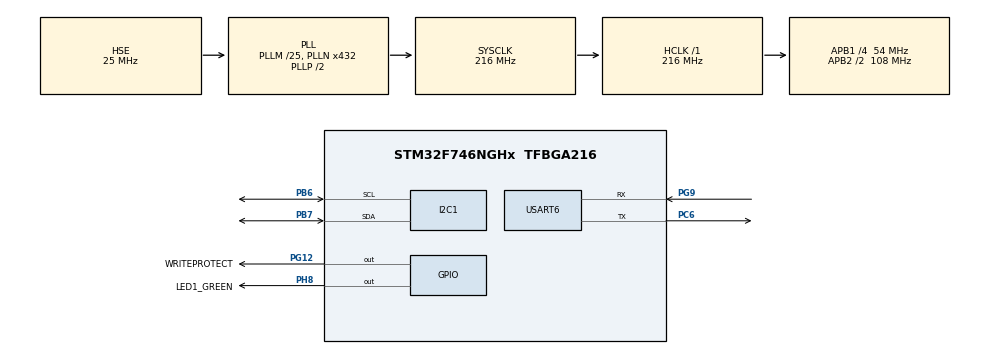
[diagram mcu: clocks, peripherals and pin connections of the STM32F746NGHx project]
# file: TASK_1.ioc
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I2C1.Timing=0x20404768
Mcu.Family=STM32F7
Mcu.Name=STM32F746NGHx
Mcu.Package=TFBGA216
NVIC.PriorityGroup=NVIC_PRIORITYGROUP_4
NVIC.USART6_IRQn=true\:0\:0\:false\:false\:true\:true\:true\:true
PB6.GPIO_Pu=GPIO_PULLUP
PB6.GPIO_Speed=GPIO_SPEED_FREQ_VERY_HIGH
PB6.Mode=I2C
PB6.Signal=I2C1_SCL
PB7.GPIO_Pu=GPIO_PULLUP
PB7.Mode=I2C
PB7.Signal=I2C1_SDA
PC6.Mode=Asynchronous
PC6.Signal=USART6_TX
PG12.GPIO_Label=WRITEPROTECT
PG12.GPIO_Speed=GPIO_SPEED_FREQ_VERY_HIGH
PG12.PinState=GPIO_PIN_SET
PG12.Signal=GPIO_Output
PG9.Mode=Asynchronous
PG9.Signal=USART6_RX
PH0/OSC_IN.Mode=HSE-External-Oscillator
PH0/OSC_IN.Signal=RCC_OSC_IN
PH1/OSC_OUT.Mode=HSE-External-Oscillator
PH1/OSC_OUT.Signal=RCC_OSC_OUT
PH8.GPIO_Label=LED1_GREEN
PH8.GPIO_PuPd=GPIO_NOPULL
PH8.GPIO_Speed=GPIO_SPEED_FREQ_VERY_HIGH
PH8.PinState=GPIO_PIN_SET
PH8.Signal=GPIO_Output
ProjectManager.HeapSize=0x200
ProjectManager.StackSize=0x400
ProjectManager.TargetToolchain=STM32CubeIDE
RCC.AHBFreq_Value=216000000
RCC.APB1CLKDivider=RCC_HCLK_DIV4
RCC.APB1Freq_Value=54000000
RCC.APB1TimFreq_Value=108000000
RCC.APB2CLKDivider=RCC_HCLK_DIV2
RCC.APB2Freq_Value=108000000
RCC.APB2TimFreq_Value=216000000
RCC.CortexFreq_Value=216000000
RCC.HCLKFreq_Value=216000000
RCC.HSE_VALUE=25000000
RCC.HSI_VALUE=16000000
RCC.LSE_VALUE=32768
RCC.PLLM=25
RCC.PLLN=432
RCC.PLLSourceVirtual=RCC_PLLSOURCE_HSE
RCC.SYSCLKFreq_VALUE=216000000
RCC.SYSCLKSource=RCC_SYSCLKSOURCE_PLLCLK
RCC.USBFreq_Value=216000000
RCC.VCOOutputFreq_Value=432000000
USART6.VirtualMode-Asynchronous=VM_ASYNC
board=custom

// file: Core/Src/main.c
/* USER CODE BEGIN Header */
/**
  ******************************************************************************
  * @file           : main.c
  * @brief          : Main program body
  ******************************************************************************
  * @attention
  *
  * Copyright (c) 2023 STMicroelectronics.
  * All rights reserved.
  *
  * This software is licensed under terms that can be found in the LICENSE file
  * in the root directory of this software component.
  * If no LICENSE file comes with this software, it is provided AS-IS.
  *
  ******************************************************************************
  */
/* USER CODE END Header */
#include "main.h"

/* USER CODE BEGIN Includes */

#include "string.h"

/* USER CODE END Includes */

/* USER CODE BEGIN PD */

#define PAGE_SIZE    16
#define DEVICE_ID_W   0xA8
#define DEVICE_ID_R   0xA9
#define START_PAGE_ON  0x00
#define START_PAGE_OFF  0x11

/* USER CODE END PD */

I2C_HandleTypeDef hi2c1;

UART_HandleTypeDef huart6;

void SystemClock_Config(void);
static void MX_GPIO_Init(void);
static void MX_I2C1_Init(void);
static void MX_USART6_UART_Init(void);

/* USER CODE BEGIN 0 */

char RxData[5] = {0};
char RxBuffer[5] = {0};
uint8_t rxIndex = 0;
uint8_t countOn = 0;
uint8_t countOff = 0;
char *onCond ="ON";
char *offCond ="OFF";
char ItoA[4];

void HAL_UART_RxCpltCallback(UART_HandleTypeDef *huart)
{
	RxBuffer[rxIndex] = RxData[0];  //Storing the data sent from the user.
	rxIndex++;    //Incrementing the index value in the buffer
	if(rxIndex > 3)
	{
		memset(RxBuffer,'\0',5);  //Clearing the buffer
		rxIndex = 0;    //making the index value to zero.
	}
	HAL_UART_Receive_IT(&huart6, &RxData, 1);
}

uint8_t bytestoWrite(uint8_t size, uint8_t start_byte)
{
	 /* If the start_bytes+size is less than PAGE_SIZE then it will return the size which is entered by us manually */
	if((size+start_byte) < PAGE_SIZE)
	{
		return size;
	}
	 /*If the start_bytes+size is greater than PAGE_SIZE then it will return the "PAGE_SIZE-start_bytes" (remaining start_bytes left in that page).*/
	else
	{
		return PAGE_SIZE-start_byte;
	}
}

void AP_M24C08_WritePage(uint8_t pageNo, uint8_t start_byte, uint8_t *dataW, uint16_t size)
{
	uint16_t temp;
	uint8_t startPage = pageNo;         //Starting page to write the data
	uint8_t endPage = startPage + ((size+start_byte)/PAGE_SIZE);          //end page to write the data

	uint8_t numofPages = (endPage - startPage)+1;        //Number of pages to write the data
	uint8_t pos = 0;            //position of the data to write

	for(int i=0; i< numofPages; i++)
	{
		 temp = (startPage * PAGE_SIZE) +start_byte;  // checking the starting address of the start_byte to start.
		 uint8_t  deviceIDw = DEVICE_ID_W | ((temp >> 7) & (0x06));       //Device address of the EEPROM along with A9 and A8 bits.
		 uint8_t  memAdd = (temp & 0xFF);                                       //memory address to where we want to write the data
		 uint8_t bytesRemaining = bytestoWrite(size,start_byte);             //Number of start_byte are pending in that page to write.

		 HAL_GPIO_WritePin(WRITEPROTECT_GPIO_Port, WRITEPROTECT_Pin, GPIO_PIN_RESET);
		 HAL_I2C_Mem_Write(&hi2c1, deviceIDw, memAdd, 1, &dataW[pos], bytesRemaining, 1000);
		 HAL_GPIO_WritePin(WRITEPROTECT_GPIO_Port, WRITEPROTECT_Pin, GPIO_PIN_SET);

		 startPage += 1;          //Increment the page after completion of writing the data into present page.
		 start_byte = 0;                   // Making to zero so it start  writing the data from 1st.
		 size = size - bytesRemaining;    //Subtracting the Number of start_bytes from the size which are written in the previous page.
		 pos += bytesRemaining;           // position of the data from where we want to write data to the next page

		 HAL_Delay(80);       //Delay the process to get the writing value update
	}
}

void AP_M24C08_ReadPage(uint8_t pageNo, uint8_t start_byte, uint8_t *dataR, uint16_t size)
{
	uint16_t temp;
	uint8_t startPage = pageNo;         //Starting page to read the data
	uint8_t endPage = startPage + ((size+start_byte)/PAGE_SIZE);          //end page to read the data

	uint8_t numofPages = (endPage - startPage)+1;        //Number of pages to read the data
	uint8_t pos = 0;            //position of the data to read

	for(int i=0; i< numofPages; i++)
	{
		 temp = (startPage * PAGE_SIZE)+start_byte;  // checking the starting address of the start_byte to start.
		 uint8_t  deviceIDr = DEVICE_ID_W | ((temp >> 7) & (0x07));       //Device address of the EEPROM along with A9 and A8 bits and read bit
		 uint8_t  memAdd = (temp & 0xFF);                                       //memory address to where we want to read the data
		 uint8_t bytesRemaining = bytestoWrite(size,start_byte);             //Number of start_byte are pending in that page to read.

		 HAL_I2C_Mem_Read(&hi2c1, deviceIDr, memAdd, 1, &dataR[pos], bytesRemaining, 1000);

		// HAL_UART_Transmit(&huart6, dataR, 1, 100);

		 startPage += 1;          //Increment the page after completion of reading the data into present page.
		 start_byte = 0;                   // Making to zero so it start  reading the data from 1st.
		 size = size - bytesRemaining;    //Subtracting the Number of start_bytes from the size which are read in the previous page.
		 pos += bytesRemaining;           // position of the data from where we want to read data to the next page
	}
}

/* USER CODE END 0 */

int main(void)
{

  /* MCU Configuration--------------------------------------------------------*/

  /* Reset of all peripherals, Initializes the Flash interface and the Systick. */
  HAL_Init();

  /* Configure the system clock */
  SystemClock_Config();

  /* Initialize all configured peripherals */
  MX_GPIO_Init();
  MX_I2C1_Init();
  MX_USART6_UART_Init();
  /* USER CODE BEGIN 2 */

  /*char sendChar = 1;
  char receiveChar ; */

  uint8_t mem_ON;
  uint8_t mem_OFF;

  char onBuff[2];
  char offBuff[2];

  AP_M24C08_ReadPage(0,0,&mem_ON,1);   //Reading the On Count value from the NVRAM.
  sprintf(onBuff, "%d",mem_ON);        //Converting the integer value into char
  HAL_UART_Transmit_IT(&huart6, &onBuff, 2);  //Transmitting the on count value.

  AP_M24C08_ReadPage(1,0,&mem_OFF,1);  //Reading the Off Count value from the NVRAM.
  sprintf(offBuff, "%d",mem_OFF);      //Converting the integer value into char
  HAL_UART_Transmit_IT(&huart6, &offBuff,2);  //Transmitting the off count value.

  //Receiving the input from the user.
  HAL_UART_Receive_IT(&huart6, &RxData, 1);

  /* USER CODE END 2 */

  /* Infinite loop */
  while (1)
  {

    /* USER CODE BEGIN 3 */

        //Checking the condition for ON
		if(!strcmp(RxBuffer,onCond))
		{
		  HAL_UART_Transmit(&huart6, "LED ON", 6, 100);
		  HAL_GPIO_WritePin(LED1_GREEN_GPIO_Port, LED1_GREEN_Pin, GPIO_PIN_RESET);
		  countOn++;   //Incrementing the value of LED ON count
		  AP_M24C08_WritePage(0,0,&countOn,1);  //Writing the ON count value to NVRAM.
		  rxIndex = 0;     //Making the index value to zero.
		  memset(RxBuffer,'\0',5);  //Clearing the RxBuffer.
		}
		//Checking the condition for OFF
		else if(!strcmp(RxBuffer,offCond))
		{
		    HAL_UART_Transmit(&huart6, "LED OFF", 7, 100);
		    HAL_GPIO_WritePin(LED1_GREEN_GPIO_Port, LED1_GREEN_Pin, GPIO_PIN_SET);
			countOff++;  //Incrementing the value of LED OFF count
			AP_M24C08_WritePage(1,0,&countOff,1);   //Writing the OFF count value to NVRAM.
		    rxIndex = 0;    //Making the index value to zero.
			memset(RxBuffer,'\0',5);  //Clearing the RxBuffer.
		}
  }

  /* USER CODE END 3 */
}

void SystemClock_Config(void)
{
  RCC_OscInitTypeDef RCC_OscInitStruct = {0};
  RCC_ClkInitTypeDef RCC_ClkInitStruct = {0};

  /** Configure the main internal regulator output voltage
  */
  __HAL_RCC_PWR_CLK_ENABLE();
  __HAL_PWR_VOLTAGESCALING_CONFIG(PWR_REGULATOR_VOLTAGE_SCALE1);

  /** Initializes the RCC Oscillators according to the specified parameters
  * in the RCC_OscInitTypeDef structure.
  */
  RCC_OscInitStruct.OscillatorType = RCC_OSCILLATORTYPE_HSE;
  RCC_OscInitStruct.HSEState = RCC_HSE_ON;
  RCC_OscInitStruct.PLL.PLLState = RCC_PLL_ON;
  RCC_OscInitStruct.PLL.PLLSource = RCC_PLLSOURCE_HSE;
  RCC_OscInitStruct.PLL.PLLM = 25;
  RCC_OscInitStruct.PLL.PLLN = 432;
  RCC_OscInitStruct.PLL.PLLP = RCC_PLLP_DIV2;
  RCC_OscInitStruct.PLL.PLLQ = 2;
  if (HAL_RCC_OscConfig(&RCC_OscInitStruct) != HAL_OK)
  {
    Error_Handler();
  }

  /** Activate the Over-Drive mode
  */
  if (HAL_PWREx_EnableOverDrive() != HAL_OK)
  {
    Error_Handler();
  }

  /** Initializes the CPU, AHB and APB buses clocks
  */
  RCC_ClkInitStruct.ClockType = RCC_CLOCKTYPE_HCLK|RCC_CLOCKTYPE_SYSCLK
                              |RCC_CLOCKTYPE_PCLK1|RCC_CLOCKTYPE_PCLK2;
  RCC_ClkInitStruct.SYSCLKSource = RCC_SYSCLKSOURCE_PLLCLK;
  RCC_ClkInitStruct.AHBCLKDivider = RCC_SYSCLK_DIV1;
  RCC_ClkInitStruct.APB1CLKDivider = RCC_HCLK_DIV4;
  RCC_ClkInitStruct.APB2CLKDivider = RCC_HCLK_DIV2;

  if (HAL_RCC_ClockConfig(&RCC_ClkInitStruct, FLASH_LATENCY_7) != HAL_OK)
  {
    Error_Handler();
  }
}

static void MX_I2C1_Init(void)
{

  hi2c1.Instance = I2C1;
  hi2c1.Init.Timing = 0x20404768;
  hi2c1.Init.OwnAddress1 = 0;
  hi2c1.Init.AddressingMode = I2C_ADDRESSINGMODE_7BIT;
  hi2c1.Init.DualAddressMode = I2C_DUALADDRESS_DISABLE;
  hi2c1.Init.OwnAddress2 = 0;
  hi2c1.Init.OwnAddress2Masks = I2C_OA2_NOMASK;
  hi2c1.Init.GeneralCallMode = I2C_GENERALCALL_DISABLE;
  hi2c1.Init.NoStretchMode = I2C_NOSTRETCH_DISABLE;
  if (HAL_I2C_Init(&hi2c1) != HAL_OK)
  {
    Error_Handler();
  }

  /** Configure Analogue filter
  */
  if (HAL_I2CEx_ConfigAnalogFilter(&hi2c1, I2C_ANALOGFILTER_ENABLE) != HAL_OK)
  {
    Error_Handler();
  }

  /** Configure Digital filter
  */
  if (HAL_I2CEx_ConfigDigitalFilter(&hi2c1, 0) != HAL_OK)
  {
    Error_Handler();
  }

}

static void MX_USART6_UART_Init(void)
{

  huart6.Instance = USART6;
  huart6.Init.BaudRate = 115200;
  huart6.Init.WordLength = UART_WORDLENGTH_8B;
  huart6.Init.StopBits = UART_STOPBITS_1;
  huart6.Init.Parity = UART_PARITY_NONE;
  huart6.Init.Mode = UART_MODE_TX_RX;
  huart6.Init.HwFlowCtl = UART_HWCONTROL_NONE;
  huart6.Init.OverSampling = UART_OVERSAMPLING_16;
  huart6.Init.OneBitSampling = UART_ONE_BIT_SAMPLE_DISABLE;
  huart6.AdvancedInit.AdvFeatureInit = UART_ADVFEATURE_NO_INIT;
  if (HAL_UART_Init(&huart6) != HAL_OK)
  {
    Error_Handler();
  }

}

static void MX_GPIO_Init(void)
{
  GPIO_InitTypeDef GPIO_InitStruct = {0};

  /* GPIO Ports Clock Enable */
  __HAL_RCC_GPIOB_CLK_ENABLE();
  __HAL_RCC_GPIOG_CLK_ENABLE();
  __HAL_RCC_GPIOH_CLK_ENABLE();
  __HAL_RCC_GPIOC_CLK_ENABLE();

  /*Configure GPIO pin Output Level */
  HAL_GPIO_WritePin(WRITEPROTECT_GPIO_Port, WRITEPROTECT_Pin, GPIO_PIN_SET);

  /*Configure GPIO pin Output Level */
  HAL_GPIO_WritePin(LED1_GREEN_GPIO_Port, LED1_GREEN_Pin, GPIO_PIN_SET);

  /*Configure GPIO pin : WRITEPROTECT_Pin */
  GPIO_InitStruct.Pin = WRITEPROTECT_Pin;
  GPIO_InitStruct.Mode = GPIO_MODE_OUTPUT_PP;
  GPIO_InitStruct.Pull = GPIO_NOPULL;
  GPIO_InitStruct.Speed = GPIO_SPEED_FREQ_VERY_HIGH;
  HAL_GPIO_Init(WRITEPROTECT_GPIO_Port, &GPIO_InitStruct);

  /*Configure GPIO pin : LED1_GREEN_Pin */
  GPIO_InitStruct.Pin = LED1_GREEN_Pin;
  GPIO_InitStruct.Mode = GPIO_MODE_OUTPUT_PP;
  GPIO_InitStruct.Pull = GPIO_NOPULL;
  GPIO_InitStruct.Speed = GPIO_SPEED_FREQ_VERY_HIGH;
  HAL_GPIO_Init(LED1_GREEN_GPIO_Port, &GPIO_InitStruct);

}

/* USER CODE BEGIN 4 */

/*void bytesLeft( uint8_t startByte, uint8_t size)
{
	if((startByte + size) < 16)
		return size;
	else
		return PAGESIZE - startByte;
}

void writeData( uint8_t startPage, uint8_t startByte,uint8_t *dataW, uint8_t size)
{
	uint16_t  endPages =  ((startPage * PAGESIZE) + (startByte + size)) / PAGESIZE;
	uint8_t  numPages = (endPage - startPage) + 1;
	uint8_t pos = 0;

	while(size > 0)
	{
		uint8_t BytesLeftInPage = bytesLeft(startByte,size);
		uint16_t temp = (startPage * PAGESIZE) + startByte;
		uint8_t memADD = temp & 0xFF;
		uint8_t temp1 = (temp >> 7) & 0x06;
		uint8_t slaveADD = DEVICE_ID_W | temp1;

		HAL_I2C_Mem_Write(&hi2c1, slaveADD, memADD, 1, &dataW[pos], BytesLeftInPage, 100);

		startPage += 1;
		startByte = 0;
		size = size - bytesLeft;
		pos += BytesLeftInPage;
	}
}

void readData( uint8_t startPage, uint8_t startByte,uint8_t *dataR, uint8_t siz)
{
	uint16_t  endPages =  ((startPage * PAGESIZE) + (startByte + size)) / PAGESIZE;
	uint8_t  numPages = (endPage - startPage) + 1;
	uint8_t pos = 0;

	while(size > 0)
	{
		uint8_t BytesLeftInPage = bytesLeft(startByte,size);
		uint16_t temp = (startPage * PAGESIZE) + startByte;
		uint8_t memADD = temp & 0xFF;
		uint8_t temp1 = (temp >> 7) & 0x06;
		uint8_t slaveADD = DEVICE_ID_R | temp1;

		HAL_I2C_Mem_Write(&hi2c1, slaveADD, memADD, 1, &dataR[pos], BytesLeftInPage, 100);

		startPage += 1;
		startByte = 0;
		size = size - bytesLeft;
		pos += BytesLeftInPage;
	}
}*/

/* USER CODE END 4 */

void Error_Handler(void)
{
  __disable_irq();
  while (1)
  {
  }
}
